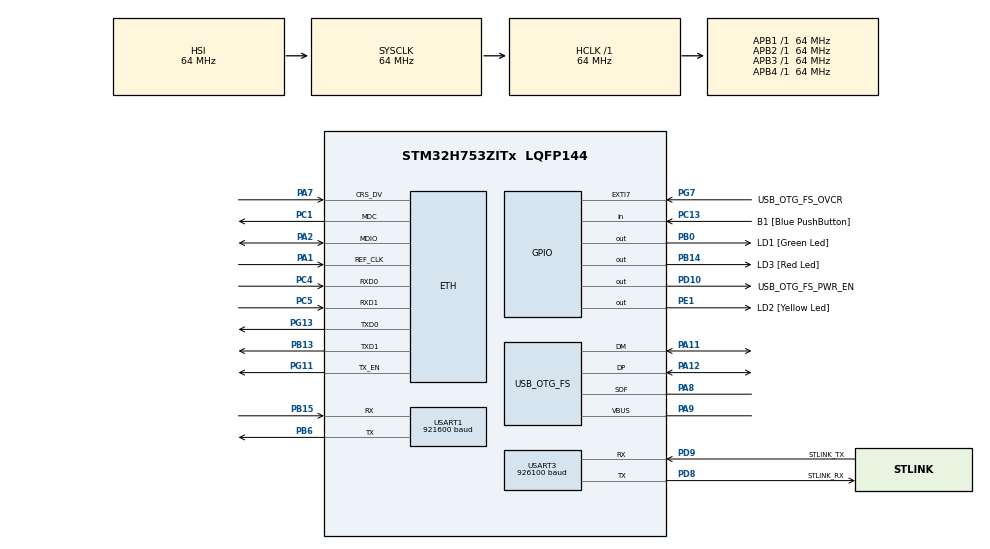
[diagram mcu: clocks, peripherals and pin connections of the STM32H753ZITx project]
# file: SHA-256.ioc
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CORTEX_M7.CPU_DCache=Disabled
CORTEX_M7.CPU_ICache=Disabled
CORTEX_M7.MPU_Control=__NULL
Dma.Request0=USART1_RX
Dma.USART1_RX.0.Direction=DMA_PERIPH_TO_MEMORY
Dma.USART1_RX.0.EventEnable=DISABLE
Dma.USART1_RX.0.FIFOMode=DMA_FIFOMODE_DISABLE
Dma.USART1_RX.0.Instance=DMA1_Stream0
Dma.USART1_RX.0.MemDataAlignment=DMA_MDATAALIGN_BYTE
Dma.USART1_RX.0.MemInc=DMA_MINC_ENABLE
Dma.USART1_RX.0.Mode=DMA_CIRCULAR
Dma.USART1_RX.0.PeriphDataAlignment=DMA_PDATAALIGN_BYTE
Dma.USART1_RX.0.PeriphInc=DMA_PINC_DISABLE
Dma.USART1_RX.0.Polarity=HAL_DMAMUX_REQ_GEN_RISING
Dma.USART1_RX.0.Priority=DMA_PRIORITY_VERY_HIGH
Dma.USART1_RX.0.RequestNumber=1
Dma.USART1_RX.0.SignalID=NONE
Dma.USART1_RX.0.SyncEnable=DISABLE
Dma.USART1_RX.0.SyncPolarity=HAL_DMAMUX_SYNC_NO_EVENT
Dma.USART1_RX.0.SyncRequestNumber=1
Dma.USART1_RX.0.SyncSignalID=NONE
ETH.ETH_RX_DESC_CNT=4
ETH.ETH_TX_DESC_CNT=4
ETH.MACAddr=00\:80\:E1\:00\:00\:00
ETH.MediaInterface=HAL_ETH_RMII_MODE
ETH.RxBuffAddress=0x30040200
ETH.RxBuffLen=1524
ETH.RxDescAddress=0x30040000
ETH.TxDescAddress=0x30040060
HASH.SecureHashAlgorithmType=SHA256
Mcu.Family=STM32H7
Mcu.Name=STM32H753ZITx
Mcu.Package=LQFP144
NVIC.DMA1_Stream0_IRQn=true\:0\:0\:false\:false\:true\:false\:true\:true
NVIC.PriorityGroup=NVIC_PRIORITYGROUP_4
PA1.Mode=RMII
PA1.Signal=ETH_REF_CLK
PA11.Mode=Device_Only
PA11.Signal=USB_OTG_FS_DM
PA12.Mode=Device_Only
PA12.Signal=USB_OTG_FS_DP
PA2.Mode=RMII
PA2.Signal=ETH_MDIO
PA7.Mode=RMII
PA7.Signal=ETH_CRS_DV
PA8.Mode=Activate_SOF_FS
PA8.Signal=USB_OTG_FS_SOF
PA9.Mode=Activate_VBUS
PA9.Signal=USB_OTG_FS_VBUS
PB0.GPIO_Label=LD1 [Green Led]
PB0.Signal=GPIO_Output
PB13.Mode=RMII
PB13.Signal=ETH_TXD1
PB14.GPIO_Label=LD3 [Red Led]
PB14.Signal=GPIO_Output
PB15.Mode=Asynchronous
PB15.Signal=USART1_RX
PB6.Mode=Asynchronous
PB6.Signal=USART1_TX
PC1.Mode=RMII
PC1.Signal=ETH_MDC
PC13.GPIO_Label=B1 [Blue PushButton]
PC13.Signal=GPIO_Input
PC14-OSC32_IN\ (OSC32_IN).Mode=LSE-External-Oscillator
PC14-OSC32_IN\ (OSC32_IN).Signal=RCC_OSC32_IN
PC15-OSC32_OUT\ (OSC32_OUT).Mode=LSE-External-Oscillator
PC15-OSC32_OUT\ (OSC32_OUT).Signal=RCC_OSC32_OUT
PC4.Mode=RMII
PC4.Signal=ETH_RXD0
PC5.Mode=RMII
PC5.Signal=ETH_RXD1
PD10.GPIO_Label=USB_OTG_FS_PWR_EN
PD10.Signal=GPIO_Output
PD8.GPIO_Label=STLINK_RX
PD8.Mode=Asynchronous
PD8.Signal=USART3_TX
PD9.GPIO_Label=STLINK_TX
PD9.Mode=Asynchronous
PD9.Signal=USART3_RX
PE1.GPIO_Label=LD2 [Yellow Led]
PE1.Signal=GPIO_Output
PG11.Mode=RMII
PG11.Signal=ETH_TX_EN
PG13.Mode=RMII
PG13.Signal=ETH_TXD0
PG7.GPIO_Label=USB_OTG_FS_OVCR
PG7.Signal=GPXTI7
PH0-OSC_IN\ (PH0).Mode=HSE-External-Clock-Source
PH0-OSC_IN\ (PH0).Signal=RCC_OSC_IN
PH1-OSC_OUT\ (PH1).Signal=RCC_OSC_OUT
ProjectManager.HeapSize=0x200
ProjectManager.StackSize=0x400
ProjectManager.TargetToolchain=STM32CubeIDE
RCC.ADCFreq_Value=16125000
RCC.APB1Freq_Value=64000000
RCC.APB2Freq_Value=64000000
RCC.APB3Freq_Value=64000000
RCC.APB4Freq_Value=64000000
RCC.CortexFreq_Value=64000000
RCC.DIVM1=1
RCC.DIVN1=24
RCC.DIVQ1=4
RCC.HCLKFreq_Value=64000000
RCC.HSE_VALUE=8000000
RCC.PLLFRACN=0
RCC.PWR_Regulator_Voltage_Scale=PWR_REGULATOR_VOLTAGE_SCALE2
RCC.SYSCLKFreq_VALUE=64000000
RCC.USBFreq_Value=48000000
USART1.BaudRate=921600
USART1.VirtualMode-Asynchronous=VM_ASYNC
USART3.AutoBaudRateEnableParam=UART_ADVFEATURE_AUTOBAUDRATE_DISABLE
USART3.BaudRate=926100
USART3.ClockPrescaler=PRESCALER_DIV1
USART3.DMADisableonRxErrorParam=ADVFEATURE_DMA_ENABLEONRXERROR
USART3.DataInvertParam=ADVFEATURE_DATAINV_DISABLE
USART3.FIFOMode=FIFOMODE_DISABLE
USART3.MSBFirstParam=ADVFEATURE_MSBFIRST_DISABLE
USART3.Mode=MODE_TX_RX
USART3.OneBitSampling=UART_ONE_BIT_SAMPLE_DISABLE
USART3.OverSampling=UART_OVERSAMPLING_16
USART3.OverrunDisableParam=ADVFEATURE_OVERRUN_ENABLE
USART3.Parity=PARITY_NONE
USART3.RXFIFOThreshold=RXFIFO_THRESHOLD_1EIGHTHFULL
USART3.RxPinLevelInvertParam=ADVFEATURE_RXINV_DISABLE
USART3.StopBits=STOPBITS_1
USART3.SwapParam=ADVFEATURE_SWAP_DISABLE
USART3.TXFIFOThreshold=TXFIFO_THRESHOLD_1EIGHTHFULL
USART3.TxPinLevelInvertParam=ADVFEATURE_TXINV_DISABLE
USART3.VirtualMode-Asynchronous=VM_ASYNC
USART3.WordLength=WORDLENGTH_8B
USB_OTG_FS.Sof_enable=ENABLE
USB_OTG_FS.VirtualMode=Device_Only
USB_OTG_FS.battery_charging_enable=ENABLE
USB_OTG_FS.low_power_enable=DISABLE
USB_OTG_FS.lpm_enable=DISABLE
USB_OTG_FS.use_dedicated_ep1=DISABLE
USB_OTG_FS.vbus_sensing_enable=ENABLE
VP_HASH_VS_HASH.Mode=HASH_Activate
board=NUCLEO-H753ZI

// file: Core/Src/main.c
/* USER CODE BEGIN Header */
/**
  ******************************************************************************
  * @file           : main.c
  * @brief          : Main program body
  ******************************************************************************
  * @attention
  *
  * Copyright (c) 2024 STMicroelectronics.
  * All rights reserved.
  *
  * This software is licensed under terms that can be found in the LICENSE file
  * in the root directory of this software component.
  * If no LICENSE file comes with this software, it is provided AS-IS.
  *
  ******************************************************************************
  */
/* USER CODE END Header */
#include "main.h"
#include "string.h"
#include "stdio.h"

#if defined ( __ICCARM__ ) /*!< IAR Compiler */
#pragma location=0x30040000
ETH_DMADescTypeDef  DMARxDscrTab[ETH_RX_DESC_CNT]; /* Ethernet Rx DMA Descriptors */
#pragma location=0x30040060
ETH_DMADescTypeDef  DMATxDscrTab[ETH_TX_DESC_CNT]; /* Ethernet Tx DMA Descriptors */

#elif defined ( __CC_ARM )  /* MDK ARM Compiler */

__attribute__((at(0x30040000))) ETH_DMADescTypeDef  DMARxDscrTab[ETH_RX_DESC_CNT]; /* Ethernet Rx DMA Descriptors */
__attribute__((at(0x30040060))) ETH_DMADescTypeDef  DMATxDscrTab[ETH_TX_DESC_CNT]; /* Ethernet Tx DMA Descriptors */

#elif defined ( __GNUC__ ) /* GNU Compiler */
ETH_DMADescTypeDef DMARxDscrTab[ETH_RX_DESC_CNT] __attribute__((section(".RxDecripSection"))); /* Ethernet Rx DMA Descriptors */
ETH_DMADescTypeDef DMATxDscrTab[ETH_TX_DESC_CNT] __attribute__((section(".TxDecripSection")));   /* Ethernet Tx DMA Descriptors */

#endif

ETH_TxPacketConfig TxConfig;

ETH_HandleTypeDef heth;

HASH_HandleTypeDef hhash;

UART_HandleTypeDef huart1;
UART_HandleTypeDef huart3;
DMA_HandleTypeDef hdma_usart1_rx;

PCD_HandleTypeDef hpcd_USB_OTG_FS;

/* USER CODE BEGIN PV */
#define RX_BUFFER_SIZE 9000  // Buffer size to accommodate incoming data
uint8_t rxBuffer[RX_BUFFER_SIZE];  // Buffer for storing received data
uint8_t hashOutput[32];  // Buffer for storing SHA-256 hash output

/* USER CODE END PV */

void SystemClock_Config(void);
static void MX_GPIO_Init(void);
static void MX_DMA_Init(void);
static void MX_USART3_UART_Init(void);
static void MX_USB_OTG_FS_PCD_Init(void);
static void MX_USART1_UART_Init(void);
static void MX_ETH_Init(void);
static void MX_HASH_Init(void);
/* USER CODE BEGIN PFP */
void ProcessReceivedData(void);  // Prototype for data processing function
/* USER CODE END PFP */

/* USER CODE BEGIN 0 */
void DebugPrint(const char *message)
{
    HAL_UART_Transmit(&huart3, (uint8_t*)message, strlen(message), HAL_MAX_DELAY);
}

int __io_putchar(int ch)
{
    HAL_UART_Transmit(&huart3, (uint8_t *)&ch, 1, HAL_MAX_DELAY);
    return ch;
}

/* USER CODE END 0 */

int main(void)
{

  /* MCU Configuration--------------------------------------------------------*/

  /* Reset of all peripherals, Initializes the Flash interface and the Systick. */
  HAL_Init();

  /* Configure the system clock */
  SystemClock_Config();

  /* Initialize all configured peripherals */
  MX_GPIO_Init();
  MX_DMA_Init();
  MX_USART3_UART_Init();
  MX_USB_OTG_FS_PCD_Init();
  MX_USART1_UART_Init();
  MX_ETH_Init();
  MX_HASH_Init();
  /* USER CODE BEGIN 2 */
  // Start DMA reception on USART1
  if (HAL_UART_Receive_DMA(&huart1, rxBuffer, RX_BUFFER_SIZE) != HAL_OK)
  {
    Error_Handler();
  }
  /* USER CODE END 2 */

  /* Infinite loop */
  /* USER CODE BEGIN WHILE */
    // No need for ProcessReceivedData() if using the callback
    HAL_Delay(1); // Small delay to prevent excessive CPU usage
    /* USER CODE END WHILE */

  }

void SystemClock_Config(void)
{
  RCC_OscInitTypeDef RCC_OscInitStruct = {0};
  RCC_ClkInitTypeDef RCC_ClkInitStruct = {0};

  /** Supply configuration update enable
  */
  HAL_PWREx_ConfigSupply(PWR_LDO_SUPPLY);

  /** Configure the main internal regulator output voltage
  */
  __HAL_PWR_VOLTAGESCALING_CONFIG(PWR_REGULATOR_VOLTAGE_SCALE2);

  while(!__HAL_PWR_GET_FLAG(PWR_FLAG_VOSRDY)) {}

  /** Initializes the RCC Oscillators according to the specified parameters
  * in the RCC_OscInitTypeDef structure.
  */
  RCC_OscInitStruct.OscillatorType = RCC_OSCILLATORTYPE_HSI|RCC_OSCILLATORTYPE_HSE;
  RCC_OscInitStruct.HSEState = RCC_HSE_BYPASS;
  RCC_OscInitStruct.HSIState = RCC_HSI_DIV1;
  RCC_OscInitStruct.HSICalibrationValue = RCC_HSICALIBRATION_DEFAULT;
  RCC_OscInitStruct.PLL.PLLState = RCC_PLL_ON;
  RCC_OscInitStruct.PLL.PLLSource = RCC_PLLSOURCE_HSE;
  RCC_OscInitStruct.PLL.PLLM = 1;
  RCC_OscInitStruct.PLL.PLLN = 24;
  RCC_OscInitStruct.PLL.PLLP = 2;
  RCC_OscInitStruct.PLL.PLLQ = 4;
  RCC_OscInitStruct.PLL.PLLR = 2;
  RCC_OscInitStruct.PLL.PLLRGE = RCC_PLL1VCIRANGE_3;
  RCC_OscInitStruct.PLL.PLLVCOSEL = RCC_PLL1VCOWIDE;
  RCC_OscInitStruct.PLL.PLLFRACN = 0;
  if (HAL_RCC_OscConfig(&RCC_OscInitStruct) != HAL_OK)
  {
    Error_Handler();
  }

  /** Initializes the CPU, AHB and APB buses clocks
  */
  RCC_ClkInitStruct.ClockType = RCC_CLOCKTYPE_HCLK|RCC_CLOCKTYPE_SYSCLK
                              |RCC_CLOCKTYPE_PCLK1|RCC_CLOCKTYPE_PCLK2
                              |RCC_CLOCKTYPE_D3PCLK1|RCC_CLOCKTYPE_D1PCLK1;
  RCC_ClkInitStruct.SYSCLKSource = RCC_SYSCLKSOURCE_HSI;
  RCC_ClkInitStruct.SYSCLKDivider = RCC_SYSCLK_DIV1;
  RCC_ClkInitStruct.AHBCLKDivider = RCC_HCLK_DIV1;
  RCC_ClkInitStruct.APB3CLKDivider = RCC_APB3_DIV1;
  RCC_ClkInitStruct.APB1CLKDivider = RCC_APB1_DIV1;
  RCC_ClkInitStruct.APB2CLKDivider = RCC_APB2_DIV1;
  RCC_ClkInitStruct.APB4CLKDivider = RCC_APB4_DIV1;

  if (HAL_RCC_ClockConfig(&RCC_ClkInitStruct, FLASH_LATENCY_1) != HAL_OK)
  {
    Error_Handler();
  }
}

static void MX_ETH_Init(void)
{

   static uint8_t MACAddr[6];

  heth.Instance = ETH;
  MACAddr[0] = 0x00;
  MACAddr[1] = 0x80;
  MACAddr[2] = 0xE1;
  MACAddr[3] = 0x00;
  MACAddr[4] = 0x00;
  MACAddr[5] = 0x00;
  heth.Init.MACAddr = &MACAddr[0];
  heth.Init.MediaInterface = HAL_ETH_RMII_MODE;
  heth.Init.TxDesc = DMATxDscrTab;
  heth.Init.RxDesc = DMARxDscrTab;
  heth.Init.RxBuffLen = 1524;

  if (HAL_ETH_Init(&heth) != HAL_OK)
  {
    Error_Handler();
  }

  memset(&TxConfig, 0 , sizeof(ETH_TxPacketConfig));
  TxConfig.Attributes = ETH_TX_PACKETS_FEATURES_CSUM | ETH_TX_PACKETS_FEATURES_CRCPAD;
  TxConfig.ChecksumCtrl = ETH_CHECKSUM_IPHDR_PAYLOAD_INSERT_PHDR_CALC;
  TxConfig.CRCPadCtrl = ETH_CRC_PAD_INSERT;

}

static void MX_HASH_Init(void)
{

  hhash.Init.DataType = HASH_DATATYPE_32B;
  if (HAL_HASH_Init(&hhash) != HAL_OK)
  {
    Error_Handler();
  }

}

static void MX_USART1_UART_Init(void)
{

  huart1.Instance = USART1;
  huart1.Init.BaudRate = 921600;
  huart1.Init.WordLength = UART_WORDLENGTH_8B;
  huart1.Init.StopBits = UART_STOPBITS_1;
  huart1.Init.Parity = UART_PARITY_NONE;
  huart1.Init.Mode = UART_MODE_TX_RX;
  huart1.Init.HwFlowCtl = UART_HWCONTROL_NONE;
  huart1.Init.OverSampling = UART_OVERSAMPLING_16;
  huart1.Init.OneBitSampling = UART_ONE_BIT_SAMPLE_DISABLE;
  huart1.Init.ClockPrescaler = UART_PRESCALER_DIV1;
  huart1.AdvancedInit.AdvFeatureInit = UART_ADVFEATURE_NO_INIT;
  if (HAL_UART_Init(&huart1) != HAL_OK)
  {
    Error_Handler();
  }
  if (HAL_UARTEx_SetTxFifoThreshold(&huart1, UART_TXFIFO_THRESHOLD_1_8) != HAL_OK)
  {
    Error_Handler();
  }
  if (HAL_UARTEx_SetRxFifoThreshold(&huart1, UART_RXFIFO_THRESHOLD_1_8) != HAL_OK)
  {
    Error_Handler();
  }
  if (HAL_UARTEx_DisableFifoMode(&huart1) != HAL_OK)
  {
    Error_Handler();
  }

}

static void MX_USART3_UART_Init(void)
{

  huart3.Instance = USART3;
  huart3.Init.BaudRate = 926100;
  huart3.Init.WordLength = UART_WORDLENGTH_8B;
  huart3.Init.StopBits = UART_STOPBITS_1;
  huart3.Init.Parity = UART_PARITY_NONE;
  huart3.Init.Mode = UART_MODE_TX_RX;
  huart3.Init.HwFlowCtl = UART_HWCONTROL_NONE;
  huart3.Init.OverSampling = UART_OVERSAMPLING_16;
  huart3.Init.OneBitSampling = UART_ONE_BIT_SAMPLE_DISABLE;
  huart3.Init.ClockPrescaler = UART_PRESCALER_DIV1;
  huart3.AdvancedInit.AdvFeatureInit = UART_ADVFEATURE_NO_INIT;
  if (HAL_UART_Init(&huart3) != HAL_OK)
  {
    Error_Handler();
  }
  if (HAL_UARTEx_SetTxFifoThreshold(&huart3, UART_TXFIFO_THRESHOLD_1_8) != HAL_OK)
  {
    Error_Handler();
  }
  if (HAL_UARTEx_SetRxFifoThreshold(&huart3, UART_RXFIFO_THRESHOLD_1_8) != HAL_OK)
  {
    Error_Handler();
  }
  if (HAL_UARTEx_DisableFifoMode(&huart3) != HAL_OK)
  {
    Error_Handler();
  }

}

static void MX_USB_OTG_FS_PCD_Init(void)
{

  hpcd_USB_OTG_FS.Instance = USB_OTG_FS;
  hpcd_USB_OTG_FS.Init.dev_endpoints = 9;
  hpcd_USB_OTG_FS.Init.speed = PCD_SPEED_FULL;
  hpcd_USB_OTG_FS.Init.dma_enable = DISABLE;
  hpcd_USB_OTG_FS.Init.phy_itface = PCD_PHY_EMBEDDED;
  hpcd_USB_OTG_FS.Init.Sof_enable = ENABLE;
  hpcd_USB_OTG_FS.Init.low_power_enable = DISABLE;
  hpcd_USB_OTG_FS.Init.lpm_enable = DISABLE;
  hpcd_USB_OTG_FS.Init.battery_charging_enable = ENABLE;
  hpcd_USB_OTG_FS.Init.vbus_sensing_enable = ENABLE;
  hpcd_USB_OTG_FS.Init.use_dedicated_ep1 = DISABLE;
  if (HAL_PCD_Init(&hpcd_USB_OTG_FS) != HAL_OK)
  {
    Error_Handler();
  }

}

static void MX_DMA_Init(void)
{

  /* DMA controller clock enable */
  __HAL_RCC_DMA1_CLK_ENABLE();

  /* DMA interrupt init */
  /* DMA1_Stream0_IRQn interrupt configuration */
  HAL_NVIC_SetPriority(DMA1_Stream0_IRQn, 0, 0);
  HAL_NVIC_EnableIRQ(DMA1_Stream0_IRQn);

}

static void MX_GPIO_Init(void)
{
  GPIO_InitTypeDef GPIO_InitStruct = {0};

  /* GPIO Ports Clock Enable */
  __HAL_RCC_GPIOC_CLK_ENABLE();
  __HAL_RCC_GPIOH_CLK_ENABLE();
  __HAL_RCC_GPIOA_CLK_ENABLE();
  __HAL_RCC_GPIOB_CLK_ENABLE();
  __HAL_RCC_GPIOD_CLK_ENABLE();
  __HAL_RCC_GPIOG_CLK_ENABLE();
  __HAL_RCC_GPIOE_CLK_ENABLE();

  /*Configure GPIO pin Output Level */
  HAL_GPIO_WritePin(GPIOB, LD1_Pin|LD3_Pin, GPIO_PIN_RESET);

  /*Configure GPIO pin Output Level */
  HAL_GPIO_WritePin(USB_OTG_FS_PWR_EN_GPIO_Port, USB_OTG_FS_PWR_EN_Pin, GPIO_PIN_RESET);

  /*Configure GPIO pin Output Level */
  HAL_GPIO_WritePin(LD2_GPIO_Port, LD2_Pin, GPIO_PIN_RESET);

  /*Configure GPIO pin : B1_Pin */
  GPIO_InitStruct.Pin = B1_Pin;
  GPIO_InitStruct.Mode = GPIO_MODE_INPUT;
  GPIO_InitStruct.Pull = GPIO_NOPULL;
  HAL_GPIO_Init(B1_GPIO_Port, &GPIO_InitStruct);

  /*Configure GPIO pins : LD1_Pin LD3_Pin */
  GPIO_InitStruct.Pin = LD1_Pin|LD3_Pin;
  GPIO_InitStruct.Mode = GPIO_MODE_OUTPUT_PP;
  GPIO_InitStruct.Pull = GPIO_NOPULL;
  GPIO_InitStruct.Speed = GPIO_SPEED_FREQ_LOW;
  HAL_GPIO_Init(GPIOB, &GPIO_InitStruct);

  /*Configure GPIO pin : USB_OTG_FS_PWR_EN_Pin */
  GPIO_InitStruct.Pin = USB_OTG_FS_PWR_EN_Pin;
  GPIO_InitStruct.Mode = GPIO_MODE_OUTPUT_PP;
  GPIO_InitStruct.Pull = GPIO_NOPULL;
  GPIO_InitStruct.Speed = GPIO_SPEED_FREQ_LOW;
  HAL_GPIO_Init(USB_OTG_FS_PWR_EN_GPIO_Port, &GPIO_InitStruct);

  /*Configure GPIO pin : USB_OTG_FS_OVCR_Pin */
  GPIO_InitStruct.Pin = USB_OTG_FS_OVCR_Pin;
  GPIO_InitStruct.Mode = GPIO_MODE_IT_RISING;
  GPIO_InitStruct.Pull = GPIO_NOPULL;
  HAL_GPIO_Init(USB_OTG_FS_OVCR_GPIO_Port, &GPIO_InitStruct);

  /*Configure GPIO pin : LD2_Pin */
  GPIO_InitStruct.Pin = LD2_Pin;
  GPIO_InitStruct.Mode = GPIO_MODE_OUTPUT_PP;
  GPIO_InitStruct.Pull = GPIO_NOPULL;
  GPIO_InitStruct.Speed = GPIO_SPEED_FREQ_LOW;
  HAL_GPIO_Init(LD2_GPIO_Port, &GPIO_InitStruct);

}

/* USER CODE BEGIN 4 */
/* Modify the UART callback to include SHA-256 hashing */
void HAL_UART_RxCpltCallback(UART_HandleTypeDef *huart)
{
    if (huart->Instance == USART1)
    {
        printf("DMA Reception complete for USART1.\r\n");

        // Calculate SHA-256 hash on the received data
        if (HAL_HASHEx_SHA256_Start(&hhash, rxBuffer, RX_BUFFER_SIZE, hashOutput, HAL_MAX_DELAY) == HAL_OK)
        {
            printf("SHA-256 hash calculated successfully.\r\n");

            // Print the hash as hexadecimal
            printf("Hash: ");
            for (int i = 0; i < 32; i++)
            {
                printf("%02X", hashOutput[i]);
            }
            printf("\r\n");
        }
        else
        {
            printf("Error calculating SHA-256 hash.\r\n");
        }

        // Transmit the received data over USART3 for verification
        if (HAL_UART_Transmit(&huart3, rxBuffer, RX_BUFFER_SIZE, HAL_MAX_DELAY) == HAL_OK)
        {
            printf("Data transmitted successfully over USART3.\r\n");
        }
        else
        {
            printf("Error transmitting data over USART3.\r\n");
        }

        // Reset the buffer for the next reception
        memset(rxBuffer, 0, RX_BUFFER_SIZE);

        // Restart DMA reception
        if (HAL_UART_Receive_DMA(&huart1, rxBuffer, RX_BUFFER_SIZE) != HAL_OK)
        {
            printf("Error restarting DMA reception on USART1.\r\n");
        }
        else
        {
            printf("DMA reception restarted on USART1.\r\n");
        }
    }
}
/* USER CODE END 4 */

void Error_Handler(void)
{
  __disable_irq();
  while (1)
  {
  }
}
